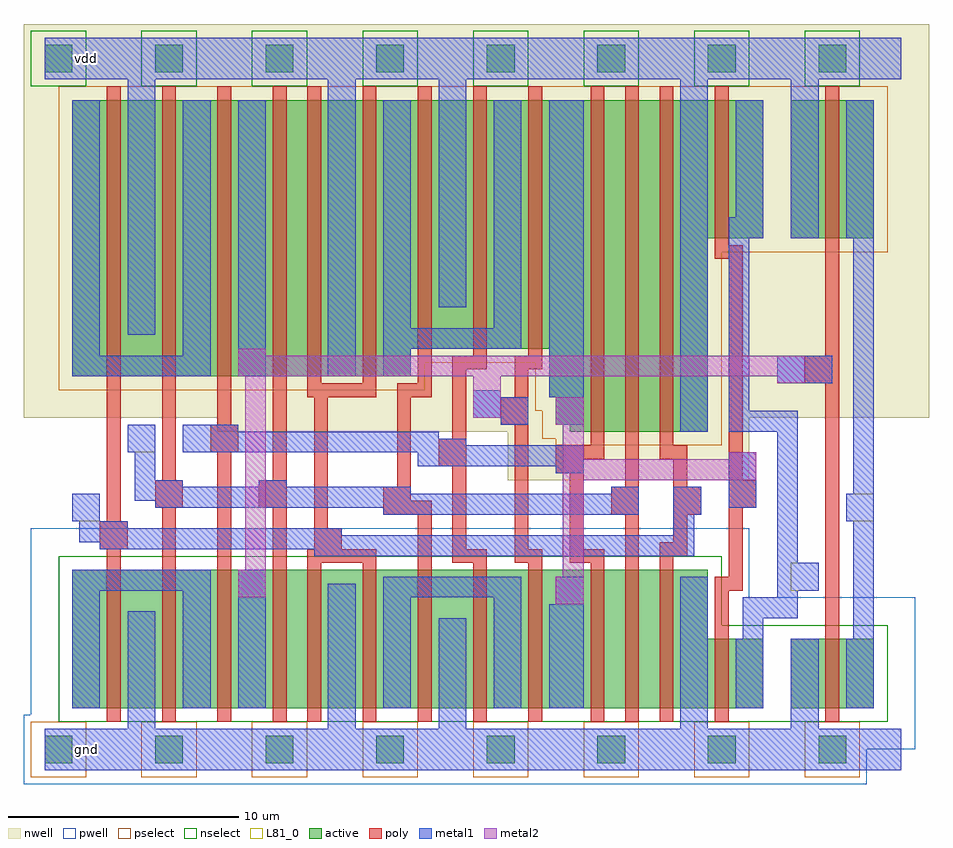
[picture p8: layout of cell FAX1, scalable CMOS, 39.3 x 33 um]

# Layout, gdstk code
import gdstk
lib = gdstk.Library(unit=1e-6, precision=1e-09)
def R(c, l, rs):  # rectangles x0, y0, x1, y1
    for r in rs: c.add(gdstk.rectangle(r[:2], r[2:], *l))
def A(c, l, x, y, w, h, nx, ny, dx, dy):  # array of equal rectangles
    R(c, l, [(x+i*dx, y+j*dy, x+i*dx+w, y+j*dy+h) for i in range(nx) for j in range(ny)])
pwell = (41, 0)
nwell = (42, 0)
active = (43, 0)
pselect = (44, 0)
nselect = (45, 0)
poly = (46, 0)
metal1 = (49, 0)
metal2 = (51, 0)
L81_0 = (81, 0)

fax1 = lib.new_cell('FAX1')
R(fax1, pwell, [(-1.5,-1.5,35.1,0), (-1.5,0,37.2,1.5), (-1.2,1.5,37.2,6.6), (-1.2,6.6,30,9.6)])
R(fax1, nwell, [(19.5,11.7,30,13.8), (6.9,13.8,30,14.4), (-1.5,14.4,37.8,31.5)])
A(fax1, active, -0.6, -0.6, 1.2, 1.2, 8, 2, 4.8, 30)
R(fax1, active, [(0.6,1.8,30.6,4.8), (31.8,1.8,35.4,4.8), (0.6,4.8,28.2,7.8), (22.2,13.8,28.2,14.1), (21.6,14.1,28.2,15.3), (21.3,15.3,28.2,17.4), (0.6,16.2,15.3,17.4), (0.6,17.4,28.2,22.2), (0.6,22.2,30.6,28.2), (31.8,22.2,35.4,28.2)])
A(fax1, pselect, -1.2, -1.2, 2.4, 2.4, 8, 1, 4.8, 0)
R(fax1, pselect, [(21.6,13.2,28.8,13.5), (21,13.5,28.8,14.7), (20.7,14.7,28.8,16.8), (0,15.6,15.9,16.8), (0,16.8,28.8,21.6), (0,21.6,36,28.8)])
A(fax1, nselect, -1.2, 28.8, 2.4, 2.4, 8, 1, 4.8, 0)
R(fax1, nselect, [(0,1.2,36,5.4), (0,5.4,28.8,8.4)])
A(fax1, poly, 10.8, 15.9, 0.6, 12.9, 3, 1, 2.4, 0)
R(fax1, poly, [(2.1,1.2,2.7,8.7), (4.5,1.2,5.1,10.5), (6.9,1.2,7.5,12.9), (9.3,1.2,9.9,10.5), (10.8,1.2,11.4,8.1), (13.2,1.2,13.8,8.1), (15.6,1.2,16.2,10.2), (18,1.2,18.6,8.1), (20.4,1.2,21,8.1), (23.1,1.2,23.7,8.1), (24.6,1.2,25.2,10.2), (26.1,1.2,26.7,8.4), (28.5,1.2,29.1,6.9), (33.3,1.2,33.9,15.9), (28.5,6.9,29.7,7.5), (29.1,7.5,29.7,10.5), (10.8,8.1,13.8,8.7), (17.1,8.1,18.6,8.7), (19.8,8.1,21,8.7), (22.2,8.1,23.7,8.7), (26.1,8.4,27.3,9), (1.8,8.7,3,9.9), (11.1,8.7,12.3,9.6), (17.1,8.7,17.7,12.3), (19.8,8.7,20.4,14.1), (22.2,8.7,22.8,12), (26.7,9,27.3,10.2), (11.1,9.6,11.7,15.3), (2.1,9.9,2.7,28.8), (14.1,10.2,16.2,10.8), (24,10.2,25.2,11.4), (26.7,10.2,27.9,11.4), (4.2,10.5,5.4,11.7), (8.7,10.5,9.9,11.7), (29.1,10.5,30.3,11.7), (14.1,10.8,15.3,11.4), (14.7,11.4,15.3,15.3), (24.6,11.4,25.2,28.8), (26.7,11.4,27.3,12.6), (4.5,11.7,5.1,28.8), (9.3,11.7,9.9,28.8), (29.1,11.7,29.7,21.3), (21.6,12,22.8,12.6), (16.5,12.3,17.7,13.5), (21.6,12.6,23.7,13.2), (26.1,12.6,27.3,13.2), (6.6,12.9,7.8,14.1), (23.1,13.2,23.7,28.8), (26.1,13.2,26.7,28.8), (17.1,13.5,17.7,16.5), (6.9,14.1,7.5,28.8), (19.2,14.1,20.4,15.3), (10.8,15.3,13.8,15.9), (14.7,15.3,16.2,15.9), (19.8,15.3,20.4,16.5), (32.4,15.9,33.9,17.1), (17.1,16.5,18.6,17.1), (19.8,16.5,21,17.1), (18,17.1,18.6,28.8), (20.4,17.1,21,28.8), (33.3,17.1,33.9,28.8), (28.5,21.3,29.7,21.9), (28.5,21.9,29.1,28.8)])
R(fax1, metal1, [(-0.6,-0.9,36.6,0.9), (3,0.9,4.2,6), (11.7,0.9,12.9,7.2), (16.5,0.9,17.7,5.7), (27,0.9,28.2,7.5), (31.8,0.9,33,4.8), (0.6,1.8,1.8,6.9), (5.4,1.8,6.6,6.9), (7.8,1.8,9,7.8), (14.1,1.8,15.3,6.6), (18.9,1.8,20.1,6.6), (21.3,1.8,22.8,6.3), (29.4,1.8,30.6,4.8), (34.2,1.8,35.4,4.8), (29.7,4.8,30.6,5.7), (34.5,4.8,35.4,9.9), (29.7,5.7,32.1,6.6), (21.6,6.3,22.8,7.5), (14.1,6.6,20.1,7.5), (31.2,6.6,32.1,6.9), (0.6,6.9,6.6,7.8), (31.2,6.9,33,8.1), (31.2,8.1,32.1,13.8), (11.1,8.4,27.6,8.7), (1.8,8.7,27.6,9), (0.9,9,27.6,9.3), (0.9,9.3,12.3,9.6), (26.7,9.3,27.6,10.2), (0.9,9.6,3,9.9), (0.6,9.9,1.8,11.1), (34.2,9.9,35.4,11.1), (14.1,10.2,25.2,10.5), (26.7,10.2,27.9,11.4), (4.2,10.5,25.2,10.8), (29.1,10.5,30.3,12.9), (3.3,10.8,25.2,11.1), (3.3,11.1,15.3,11.4), (24,11.1,25.2,11.4), (34.5,11.1,35.4,22.2), (3.3,11.4,5.4,11.7), (8.7,11.4,9.9,11.7), (3.3,11.7,4.2,12.9), (21.6,12,22.8,12.3), (15.6,12.3,22.8,12.9), (3,12.9,4.2,14.1), (5.4,12.9,22.8,13.2), (5.4,13.2,17.7,13.5), (5.4,13.5,16.5,13.8), (5.4,13.8,7.8,14.1), (27,13.8,28.2,29.1), (29.1,13.8,32.1,14.7), (19.2,14.1,20.4,14.4), (21.6,14.1,22.8,15.3), (18,14.4,20.4,15.3), (29.1,14.7,30,22.2), (18,15.3,19.2,15.6), (21.3,15.3,22.8,28.2), (31.2,15.9,33.6,17.1), (0.6,16.2,6.6,17.1), (7.8,16.2,9,28.2), (11.7,16.2,12.9,29.1), (14.1,16.2,15.3,17.4), (0.6,17.1,1.8,28.2), (5.4,17.1,6.6,28.2), (14.1,17.4,20.1,18.3), (3,18,4.2,29.1), (14.1,18.3,15.3,28.2), (18.9,18.3,20.1,28.2), (16.5,19.2,17.7,29.1), (29.1,22.2,30.6,23.1), (31.8,22.2,33,29.1), (34.2,22.2,35.4,28.2), (29.4,23.1,30.6,28.2), (-0.6,29.1,36.6,30.9)])
R(fax1, metal2, [(21.6,6.3,22.8,7.5), (7.8,6.6,9,7.8), (21.9,7.5,22.8,11.7), (8.1,7.8,9,16.2), (21.9,11.7,30.3,12.6), (21.9,12.6,22.8,14.1), (29.1,12.6,30.3,12.9), (21.6,14.1,22.8,15.3), (18,14.4,19.2,16.2), (31.2,15.9,32.4,16.2), (7.8,16.2,32.4,17.1), (7.8,17.1,9,17.4)])
R(fax1, L81_0, [(31.8,6.9,33,8.1), (0.6,9.9,1.8,11.1), (34.2,9.9,35.4,11.1), (3,12.9,4.2,14.1), (5.4,12.9,6.6,14.1)])
fax1.add(gdstk.Label('gnd', (1.2,0), layer=49, texttype=0))
fax1.add(gdstk.Label('vdd', (1.2,30), layer=49, texttype=0))

lib.write_gds('FAX1.gds')
